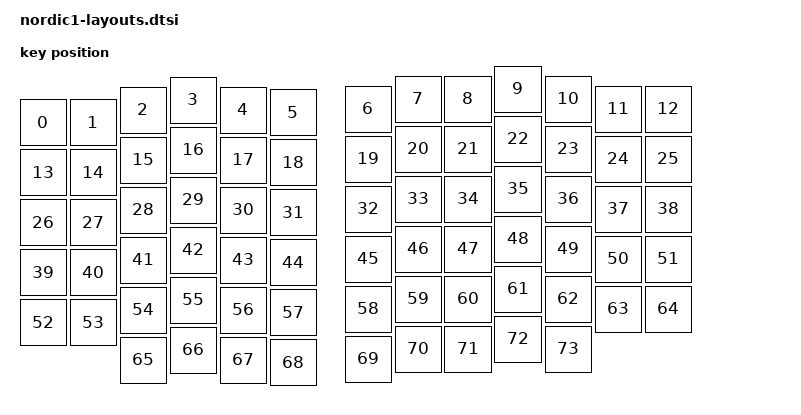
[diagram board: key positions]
// See https://zmk.dev/docs/development/hardware-integration/physical-layouts
// for how to configure this.



#include <physical_layouts.dtsi>

/ {
    physical_layout0: physical_layout_0 {
        compatible = "zmk,physical-layout";
        display-name = "default_layout";

        kscan = <&kscan0>;
        transform = <&matrix_transform0>;

        keys  //                     w   h    x    y     rot    rx    ry
            = <&key_physical_attrs 100 100    0   67       0     0     0>
            , <&key_physical_attrs 100 100  100   67       0     0     0>
            , <&key_physical_attrs 100 100  200   42       0     0     0>
            , <&key_physical_attrs 100 100  300   22       0     0     0>
            , <&key_physical_attrs 100 100  400   42       0     0     0>
            , <&key_physical_attrs 100 100  500   47       0     0     0>
            , <&key_physical_attrs 100 100  650   40       0     0     0>
            , <&key_physical_attrs 100 100  750   20       0     0     0>
            , <&key_physical_attrs 100 100  850   20       0     0     0>
            , <&key_physical_attrs 100 100  950    0       0     0     0>
            , <&key_physical_attrs 100 100 1050   20       0     0     0>
            , <&key_physical_attrs 100 100 1150   40       0     0     0>
            , <&key_physical_attrs 100 100 1250   40       0     0     0>
            , <&key_physical_attrs 100 100    0  167       0     0     0>
            , <&key_physical_attrs 100 100  100  167       0     0     0>
            , <&key_physical_attrs 100 100  200  142       0     0     0>
            , <&key_physical_attrs 100 100  300  122       0     0     0>
            , <&key_physical_attrs 100 100  400  142       0     0     0>
            , <&key_physical_attrs 100 100  500  147       0     0     0>
            , <&key_physical_attrs 100 100  650  140       0     0     0>
            , <&key_physical_attrs 100 100  750  120       0     0     0>
            , <&key_physical_attrs 100 100  850  120       0     0     0>
            , <&key_physical_attrs 100 100  950  100       0     0     0>
            , <&key_physical_attrs 100 100 1050  120       0     0     0>
            , <&key_physical_attrs 100 100 1150  140       0     0     0>
            , <&key_physical_attrs 100 100 1250  140       0     0     0>
            , <&key_physical_attrs 100 100    0  267       0     0     0>
            , <&key_physical_attrs 100 100  100  267       0     0     0>
            , <&key_physical_attrs 100 100  200  242       0     0     0>
            , <&key_physical_attrs 100 100  300  222       0     0     0>
            , <&key_physical_attrs 100 100  400  242       0     0     0>
            , <&key_physical_attrs 100 100  500  247       0     0     0>
            , <&key_physical_attrs 100 100  650  240       0     0     0>
            , <&key_physical_attrs 100 100  750  220       0     0     0>
            , <&key_physical_attrs 100 100  850  220       0     0     0>
            , <&key_physical_attrs 100 100  950  200       0     0     0>
            , <&key_physical_attrs 100 100 1050  220       0     0     0>
            , <&key_physical_attrs 100 100 1150  240       0     0     0>
            , <&key_physical_attrs 100 100 1250  240       0     0     0>
            , <&key_physical_attrs 100 100    0  367       0     0     0>
            , <&key_physical_attrs 100 100  100  367       0     0     0>
            , <&key_physical_attrs 100 100  200  342       0     0     0>
            , <&key_physical_attrs 100 100  300  322       0     0     0>
            , <&key_physical_attrs 100 100  400  342       0     0     0>
            , <&key_physical_attrs 100 100  500  347       0     0     0>
            , <&key_physical_attrs 100 100  650  340       0     0     0>
            , <&key_physical_attrs 100 100  750  320       0     0     0>
            , <&key_physical_attrs 100 100  850  320       0     0     0>
            , <&key_physical_attrs 100 100  950  300       0     0     0>
            , <&key_physical_attrs 100 100 1050  320       0     0     0>
            , <&key_physical_attrs 100 100 1150  340       0     0     0>
            , <&key_physical_attrs 100 100 1250  340       0     0     0>
            , <&key_physical_attrs 100 100    0  467       0     0     0>
            , <&key_physical_attrs 100 100  100  467       0     0     0>
            , <&key_physical_attrs 100 100  200  442       0     0     0>
            , <&key_physical_attrs 100 100  300  422       0     0     0>
            , <&key_physical_attrs 100 100  400  442       0     0     0>
            , <&key_physical_attrs 100 100  500  447       0     0     0>
            , <&key_physical_attrs 100 100  650  440       0     0     0>
            , <&key_physical_attrs 100 100  750  420       0     0     0>
            , <&key_physical_attrs 100 100  850  420       0     0     0>
            , <&key_physical_attrs 100 100  950  400       0     0     0>
            , <&key_physical_attrs 100 100 1050  420       0     0     0>
            , <&key_physical_attrs 100 100 1150  440       0     0     0>
            , <&key_physical_attrs 100 100 1250  440       0     0     0>
            , <&key_physical_attrs 100 100  200  542       0     0     0>
            , <&key_physical_attrs 100 100  300  522       0     0     0>
            , <&key_physical_attrs 100 100  400  542       0     0     0>
            , <&key_physical_attrs 100 100  500  547       0     0     0>
            , <&key_physical_attrs 100 100  650  540       0     0     0>
            , <&key_physical_attrs 100 100  750  520       0     0     0>
            , <&key_physical_attrs 100 100  850  520       0     0     0>
            , <&key_physical_attrs 100 100  950  500       0     0     0>
            , <&key_physical_attrs 100 100 1050  520       0     0     0>
            ;
    };
};
